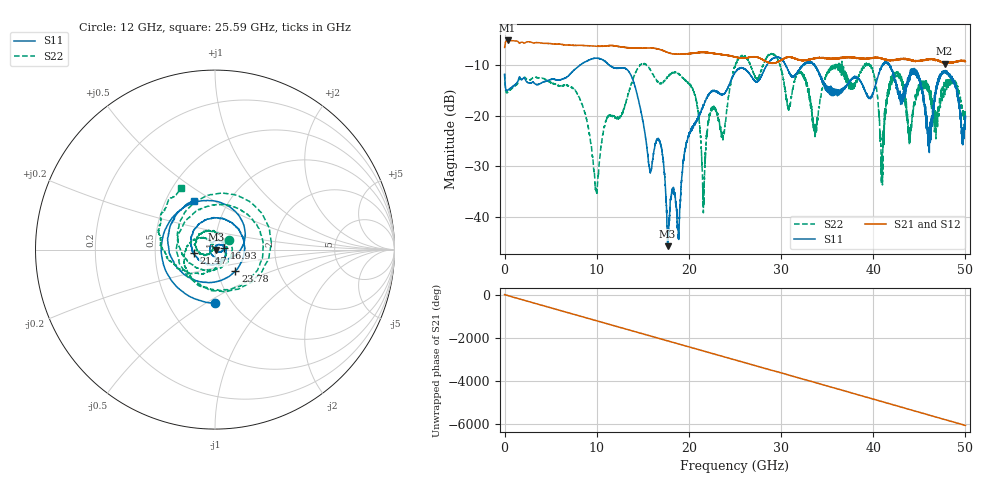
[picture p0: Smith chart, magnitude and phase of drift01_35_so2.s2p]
!Created with skrf (http://scikit-rf.org).
# Hz S RI R 50.0
!freq ReS11 ImS11 ReS21 ImS21 ReS12 ImS12 ReS22 ImS22
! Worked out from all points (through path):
!   10001 points, 300 kHz to 50 GHz, reference 50 ohm
!   highest |S21| = -5.05 dB at 325.3 MHz (marker M1); lowest = -9.6 dB at 47.75 GHz (marker M2)
!   group delay of S21, straight-line fit = 336 ps
!   lowest |S11| = -45.8 dB at 17.69 GHz (marker M3), VSWR 1.01, Z = 50.5 - j0.121 ohm
!   |S11| at or under -10 dB: start of sweep to 8.152 GHz; 11.41 GHz to 28.43 GHz (17.03 GHz wide, 85.5 % of centre); 41.79 GHz to end of sweep (the widest 3 of 11)
!   |S22| runs from -39.2 to -7.6 dB; largest |S21 - S12| = 0.013
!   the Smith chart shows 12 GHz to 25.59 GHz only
!   S11 on the Smith chart (normalised r, x): 12 GHz: 0.84, -0.55; 16.93 GHz: 1.11, +0.02; 21.47 GHz: 0.79, -0.03; 23.78 GHz: 1.22, -0.30; 25.59 GHz: 0.69, +0.41
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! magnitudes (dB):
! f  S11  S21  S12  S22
! 300 kHz  -11.8  -6.4  -6.5  -11.7
! 325.3 MHz  -15.0  -5.1  -5.1  -15.4
! 8.335 GHz  -9.8  -6.0  -6.0  -17.5
! 9.935 GHz  -8.6  -6.2  -6.2  -34.5
! 12 GHz  -10.5  -6.1  -6.1  -20.4
! 15.77 GHz  -30.9  -6.5  -6.5  -10.8
! 16.67 GHz  -24.5  -6.8  -6.8  -13.4
! 16.93 GHz  -25.8  -6.9  -6.9  -13.4
! 17.69 GHz  -45.8  -7.4  -7.4  -12.3
! 20.5 GHz  -22.1  -7.6  -7.6  -14.9
! 21.47 GHz  -18.4  -7.4  -7.4  -31.3
! 22.47 GHz  -15.2  -7.5  -7.6  -19.0
! 23.78 GHz  -15.6  -7.9  -7.9  -23.3
! 25 GHz  -11.4  -8.4  -8.4  -10.2
! 25.59 GHz  -10.5  -8.5  -8.5  -8.2
! 33.34 GHz  -9.4  -8.7  -8.7  -19.4
! 39.51 GHz  -16.4  -8.6  -8.6  -10.0
! 40.95 GHz  -10.1  -8.6  -8.6  -28.7
! 41.67 GHz  -9.7  -8.9  -9.0  -15.0
! 46.09 GHz  -27.3  -8.8  -8.8  -15.0
! 47.75 GHz  -11.2  -9.6  -9.6  -13.7
! 50 GHz  -20.6  -9.2  -9.2  -20.1
